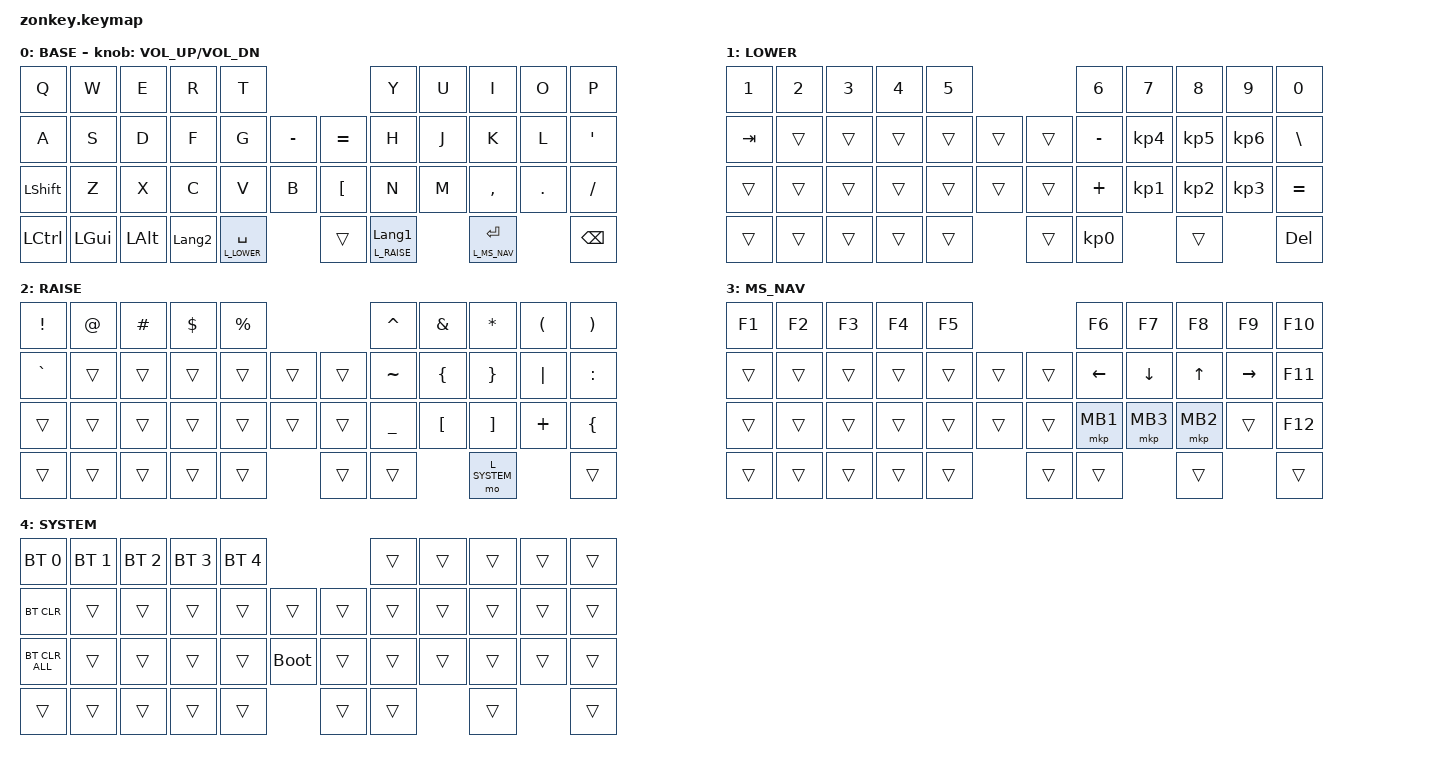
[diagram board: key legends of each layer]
#include <physical_layouts.dtsi>
#include <behaviors.dtsi>
#include <dt-bindings/zmk/bt.h>
#include <dt-bindings/zmk/keys.h>
#include <dt-bindings/zmk/pointing.h>

#define L_BASE 0
#define L_LOWER 1
#define L_RAISE 2
#define L_MS_NAV 3
#define L_SYSTEM 4

// Japanese Key Aliases (for US/Standard firmware on Mac)
#define JP_KANA LANGUAGE_1
#define JP_EISU LANGUAGE_2

&mt {
    flavor = "balanced";
    tapping-term-ms = <200>;
    quick-tap-ms = <175>;
};

&lt {
    flavor = "balanced";
    tapping-term-ms = <200>;
    quick-tap-ms = <175>;
};

/ {
    combos {
        compatible = "zmk,combos";
        // J+K = ESC
        combo_esc {
            timeout-ms = <50>;
            key-positions = <8 9>;
            bindings = <&kp ESC>;
        };
    };

    behaviors {
        // Simple and responsive tap-hold
    };

    keymap {
        compatible = "zmk,keymap";

        default_layer {
            label = "BASE";
            bindings = <
&kp Q      &kp W      &kp E      &kp R      &kp T                         &kp Y      &kp U      &kp I      &kp O      &kp P
&kp A      &kp S      &kp D      &kp F      &kp G      &kp MINUS &kp EQUAL &kp H      &kp J      &kp K      &kp L      &kp SQT
&kp LSHIFT &kp Z      &kp X      &kp C      &kp V      &kp B     &kp LBKT  &kp N      &kp M      &kp COMMA  &kp DOT    &kp SLASH
&kp LCTRL  &kp LGUI   &kp LALT   &kp JP_EISU &lt L_LOWER SPACE &trans     &lt L_RAISE JP_KANA &lt L_MS_NAV ENTER           &kp BSPC
            >;
            sensor-bindings = <&inc_dec_kp C_VOL_UP C_VOL_DN>;
        };

        lower_layer {
            label = "LOWER";
            bindings = <
&kp N1     &kp N2     &kp N3     &kp N4     &kp N5                        &kp N6     &kp N7     &kp N8     &kp N9     &kp N0
&kp TAB    &trans     &trans     &trans     &trans     &trans    &trans   &kp MINUS  &kp KP_N4  &kp KP_N5  &kp KP_N6  &kp BSLH
&trans     &trans     &trans     &trans     &trans     &trans    &trans   &kp PLUS   &kp KP_N1  &kp KP_N2  &kp KP_N3  &kp EQUAL
&trans     &trans     &trans     &trans     &trans     &trans             &kp KP_N0  &trans                           &kp DEL
            >;
        };

        raise_layer {
            label = "RAISE";
            bindings = <
&kp EXCL   &kp AT     &kp HASH   &kp DLLR   &kp PRCNT                     &kp CARET  &kp AMPS   &kp ASTRK  &kp LPAR   &kp RPAR
&kp GRAVE  &trans     &trans     &trans     &trans     &trans    &trans   &kp TILDE  &kp LBRC   &kp RBRC   &kp PIPE   &kp COLON
&trans     &trans     &trans     &trans     &trans     &trans    &trans   &kp UNDER  &kp LBKT   &kp RBKT   &kp PLUS   &kp LEFT_BRACE
&trans     &trans     &trans     &trans     &trans     &trans             &trans     &mo L_SYSTEM                      &trans
            >;
        };

        ms_nav_layer {
            label = "MS_NAV";
            bindings = <
&kp F1     &kp F2     &kp F3     &kp F4     &kp F5                        &kp F6     &kp F7     &kp F8     &kp F9     &kp F10
&trans     &trans     &trans     &trans     &trans     &trans    &trans   &kp LEFT   &kp DOWN   &kp UP     &kp RIGHT  &kp F11
&trans     &trans     &trans     &trans     &trans     &trans    &trans   &mkp MB1   &mkp MB3   &mkp MB2   &trans     &kp F12
&trans     &trans     &trans     &trans     &trans     &trans             &trans     &trans                          &trans
            >;
        };

        system_layer {
            label = "SYSTEM";
            bindings = <
&bt BT_SEL 0 &bt BT_SEL 1 &bt BT_SEL 2 &bt BT_SEL 3 &bt BT_SEL 4             &trans     &trans     &trans     &trans     &trans
&bt BT_CLR   &trans       &trans       &trans       &trans     &trans &trans &trans     &trans     &trans     &trans     &trans
&bt BT_CLR_ALL &trans     &trans       &trans       &trans     &bootloader &trans &trans     &trans     &trans     &trans     &trans
&trans       &trans       &trans       &trans       &trans     &trans            &trans     &trans                          &trans
            >;
        };
    };
};

